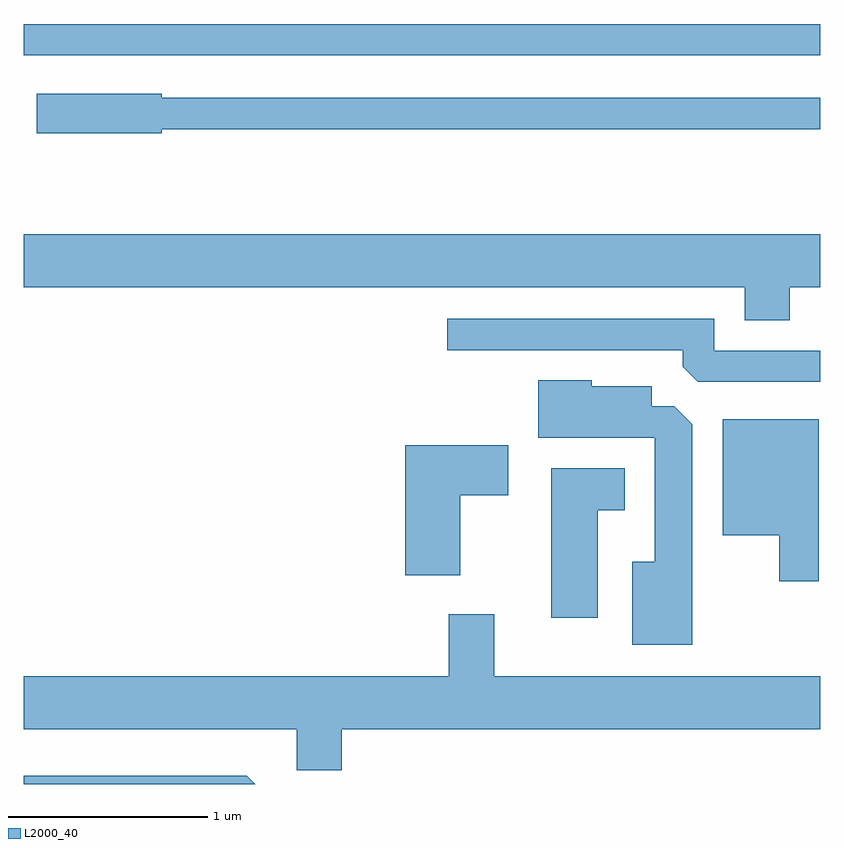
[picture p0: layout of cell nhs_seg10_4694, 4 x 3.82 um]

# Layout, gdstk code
import gdstk
lib = gdstk.Library(unit=1e-6, precision=1e-09)
def R(c, l, rs):  # rectangles x0, y0, x1, y1
    for r in rs: c.add(gdstk.rectangle(r[:2], r[2:], *l))
def P(c, l, *ps):  # polygons
    for p in ps: c.add(gdstk.Polygon(p, *l))
L2000_40 = (2000, 40)

nhs_seg10_4694 = lib.new_cell('nhs_seg10_4694')
R(nhs_seg10_4694, L2000_40, [(323.611,2126.181,327.611,2126.339)])
P(nhs_seg10_4694, L2000_40, [(324.304,2125.811),(327.611,2125.811),(327.611,2125.969),(324.304,2125.969),(324.304,2125.989),(323.676,2125.989),(323.676,2125.791),(324.304,2125.791)],
  [(327.459,2125.016),(327.611,2125.016),(327.611,2125.284),(323.611,2125.284),(323.611,2125.016),(327.231,2125.016),(327.231,2124.851),(327.459,2124.851)],
  [(327.611,2124.699),(327.079,2124.699),(327.079,2124.859),(325.738,2124.859),(325.738,2124.701),(326.921,2124.701),(326.921,2124.617),(326.997,2124.541),(327.611,2124.541)],
  [(326.969,2124.329),(326.879,2124.419),(326.764,2124.419),(326.764,2124.519),(326.464,2124.519),(326.464,2124.549),(326.196,2124.549),(326.196,2124.261),(326.781,2124.261),(326.781,2123.639),(326.666,2123.639),(326.666,2123.221),(326.969,2123.221)],
  [(327.604,2124.354),(327.121,2124.354),(327.121,2123.771),(327.406,2123.771),(327.406,2123.541),(327.604,2123.541)],
  [(325.804,2123.971),(326.044,2123.971),(326.044,2124.224),(325.526,2124.224),(325.526,2123.571),(325.804,2123.571)],
  [(326.494,2123.896),(326.629,2123.896),(326.629,2124.109),(326.261,2124.109),(326.261,2123.356),(326.494,2123.356)],
  [(325.209,2122.796),(327.611,2122.796),(327.611,2123.064),(325.974,2123.064),(325.974,2123.374),(325.746,2123.374),(325.746,2123.064),(323.611,2123.064),(323.611,2122.796),(324.981,2122.796),(324.981,2122.591),(325.209,2122.591)],
  [(324.732,2122.564),(323.611,2122.564),(323.611,2122.522),(324.774,2122.522)])

lib.write_gds('nhs_seg10_4694.gds')
